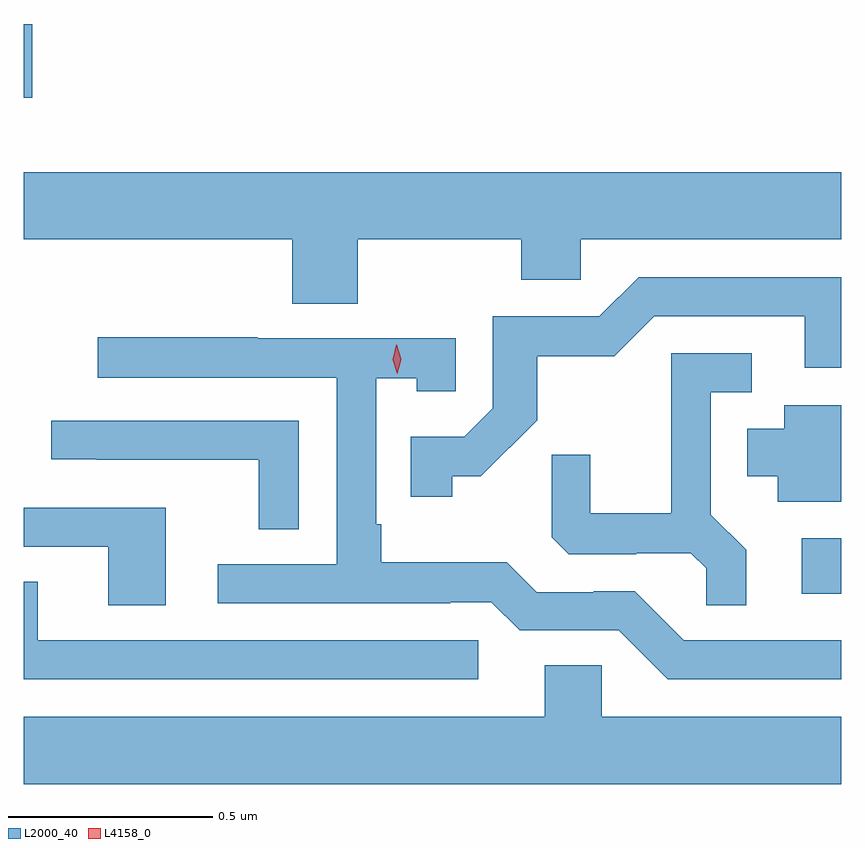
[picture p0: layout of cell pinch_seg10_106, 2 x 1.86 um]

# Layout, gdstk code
import gdstk
lib = gdstk.Library(unit=1e-6, precision=1e-09)
def R(c, l, rs):  # rectangles x0, y0, x1, y1
    for r in rs: c.add(gdstk.rectangle(r[:2], r[2:], *l))
def P(c, l, *ps):  # polygons
    for p in ps: c.add(gdstk.Polygon(p, *l))
L2000_40 = (2000, 40)
L4158_0 = (4158, 0)

pinch_seg10_106 = lib.new_cell('pinch_seg10_106')
R(pinch_seg10_106, L2000_40, [(697.515,1295.453,697.612,1295.589), (695.612,1296.666,695.633,1296.847)])
P(pinch_seg10_106, L2000_40, [(696.429,1296.32),(696.829,1296.32),(696.829,1296.222),(696.975,1296.222),(696.975,1296.32),(697.612,1296.32),(697.612,1296.484),(695.612,1296.484),(695.612,1296.32),(696.269,1296.32),(696.269,1296.163),(696.429,1296.163)],
  [(696.66,1295.741),(696.73,1295.741),(696.868,1295.878),(696.868,1296.034),(697.057,1296.034),(697.155,1296.132),(697.523,1296.132),(697.523,1296.006),(697.612,1296.006),(697.612,1296.228),(697.116,1296.228),(697.02,1296.132),(696.759,1296.132),(696.759,1295.907),(696.69,1295.838),(696.559,1295.838),(696.559,1295.691),(696.66,1295.691)],
  [(697.612,1295.34),(697.227,1295.34),(697.107,1295.46),(697.006,1295.46),(697.006,1295.457),(696.867,1295.457),(696.794,1295.53),(696.487,1295.53),(696.487,1295.623),(696.474,1295.623),(696.474,1295.981),(696.573,1295.981),(696.573,1295.949),(696.669,1295.949),(696.669,1296.078),(696.185,1296.078),(696.185,1296.081),(695.793,1296.081),(695.793,1295.982),(696.378,1295.982),(696.378,1295.526),(696.087,1295.526),(696.087,1295.43),(696.656,1295.43),(696.656,1295.433),(696.756,1295.433),(696.825,1295.364),(697.068,1295.364),(697.188,1295.244),(697.612,1295.244)],
  [(697.379,1295.561),(697.293,1295.647),(697.293,1295.946),(697.393,1295.946),(697.393,1296.042),(697.196,1296.042),(697.196,1295.65),(696.998,1295.65),(696.998,1295.793),(696.904,1295.793),(696.904,1295.591),(696.945,1295.55),(697.11,1295.55),(697.11,1295.553),(697.244,1295.553),(697.281,1295.516),(697.281,1295.425),(697.379,1295.425)],
  [(697.612,1295.914),(697.472,1295.914),(697.472,1295.857),(697.382,1295.857),(697.382,1295.741),(697.457,1295.741),(697.457,1295.678),(697.612,1295.678)],
  [(696.285,1295.877),(695.679,1295.877),(695.679,1295.782),(695.791,1295.782),(695.791,1295.781),(696.187,1295.781),(696.187,1295.611),(696.285,1295.611)],
  [(695.959,1295.664),(695.612,1295.664),(695.612,1295.568),(695.819,1295.568),(695.819,1295.425),(695.959,1295.425)],
  [(696.724,1295.34),(695.647,1295.34),(695.647,1295.483),(695.612,1295.483),(695.612,1295.244),(696.724,1295.244)],
  [(697.612,1295.152),(697.026,1295.152),(697.026,1295.279),(696.887,1295.279),(696.887,1295.152),(695.612,1295.152),(695.612,1294.988),(697.612,1294.988)])
P(pinch_seg10_106, L4158_0, [(696.526,1295.991),(696.526,1295.991),(696.515,1296.026),(696.523,1296.063),(696.524,1296.063),(696.524,1296.063),(696.535,1296.027),(696.526,1295.991)])

lib.write_gds('pinch_seg10_106.gds')
